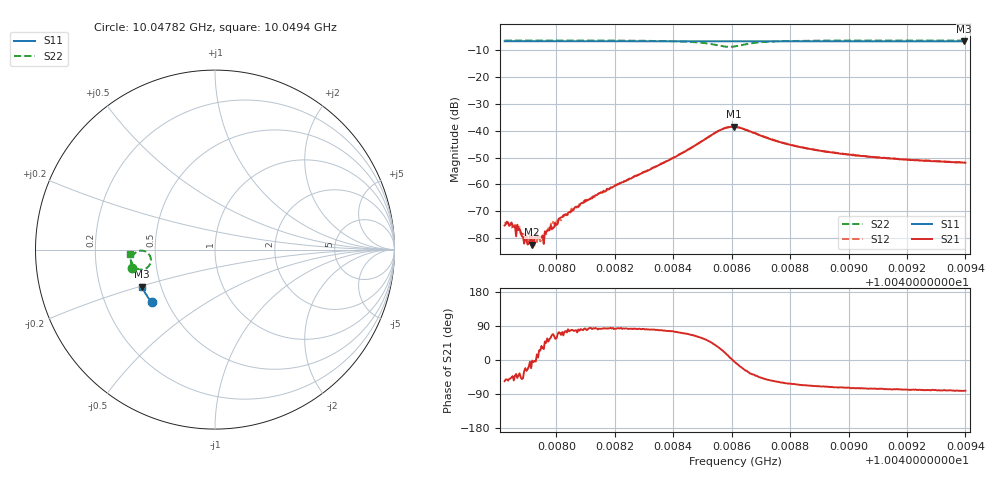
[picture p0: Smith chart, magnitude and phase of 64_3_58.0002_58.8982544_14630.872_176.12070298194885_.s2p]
#  HZ  S  RI  R  50.00
! Rohde & Schwarz Vector Network Analyzer
! Rohde-Schwarz,ZNB20-2Port,1311601062101988,3.16
! Created: UTC 3/21/2024, 12:53:07 AM
! freq[Hz]  re:S11  im:S11  re:S21  im:S21  re:S12  im:S12  re:S22  im:S22
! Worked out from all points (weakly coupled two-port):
!   401 points, 10.04782 GHz to 10.0494 GHz, reference 50 ohm
!   highest |S21| = -38.54 dB at 10.04861 GHz (marker M1); lowest = -82.4 dB at 10.04792 GHz (marker M2)
!   lowest |S11| = -6.8 dB at 10.0494 GHz (marker M3), VSWR 2.68, Z = 19.5 - j10.2 ohm
!   |S11| at or under -10 dB: nowhere
!   |S22| runs from -8.8 to -6.5 dB; largest |S21 - S12| = 0.00086
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1.0047823e10  -0.3529 -0.2946  9.66e-05 -0.000143  0.00012 -0.000144  -0.4641 -0.1019
1.0047838e10  -0.3535 -0.2937  0.00011 -0.00013  0.000104 -0.000145  -0.4643 -0.1006
1.0047866e10  -0.3547 -0.2924  0.000121 -0.000131  0.000122 -0.000122  -0.4646 -0.0984
1.0047874e10  -0.355 -0.2918  0.000122 -8.57e-05  0.000115 -0.000114  -0.4647 -0.0978
1.004789e10  -0.3558 -0.291  6.98e-05 -3.86e-05  0.000115 -4.31e-05  -0.4648 -0.0965
1.0047917e10  -0.3568 -0.2895  7.59e-05 -1.94e-06  0.00011 3.04e-06  -0.4652 -0.0943
1.0047953e10  -0.3582 -0.2877  9.61e-05 5.85e-05  9.96e-05 3.49e-05  -0.4656 -0.0911
1.0047984e10  -0.3596 -0.286  6.1e-05 0.000134  7.1e-05 0.000133  -0.4658 -0.0884
1.0047996e10  -0.36 -0.2853  0.000107 0.00016  5.67e-05 0.00016  -0.4659 -0.0875
1.0048016e10  -0.3608 -0.2842  9.84e-05 0.000224  6.08e-05 0.000207  -0.4663 -0.0857
1.0048087e10  -0.3635 -0.2804  7.79e-05 0.000448  3.08e-05 0.000424  -0.4666 -0.079
1.0048154e10  -0.3663 -0.2769  9.14e-05 0.0007  5.48e-05 0.000716  -0.4668 -0.0722
1.0048351e10  -0.3736 -0.2659  0.000471 0.00225  0.000315 0.00232  -0.4625 -0.0448
1.0048477e10  -0.378 -0.2587  0.00246 0.00482  0.00217 0.005  -0.44 -0.0148
1.0048556e10  -0.3803 -0.254  0.00844 0.00535  0.00808 0.00587  -0.3822 -0.0136
1.0048607e10  -0.3816 -0.2517  0.0118 -0.00066  0.0118 0.000192  -0.3591 -0.0727
1.0048611e10  -0.3818 -0.2514  0.0117 -0.00121  0.0117 -0.000404  -0.3607 -0.0779
1.0048706e10  -0.3856 -0.2469  0.00521 -0.00582  0.00566 -0.00555  -0.4304 -0.108
1.0048875e10  -0.3917 -0.237  0.00166 -0.00417  0.00196 -0.0041  -0.4636 -0.0753
1.0049139e10  -0.4001 -0.2215  0.00069 -0.00298  0.00085 -0.00298  -0.4718 -0.0451
1.0049396e10  -0.4076 -0.2064  0.000386 -0.00252  0.000531 -0.0025  -0.4741 -0.0232
1.00494e10  -0.4078 -0.2062  0.00039 -0.0025  0.00052 -0.00251  -0.4742 -0.023
